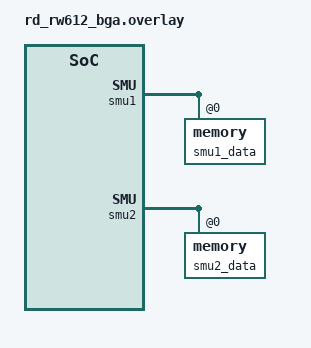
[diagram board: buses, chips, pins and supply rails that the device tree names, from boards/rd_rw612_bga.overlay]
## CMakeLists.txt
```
# SPDX-License-Identifier: Apache-2.0

cmake_minimum_required(VERSION 3.28.0)
find_package(Zephyr REQUIRED HINTS $ENV{ZEPHYR_BASE})
project(thread_stack)

FILE(GLOB app_sources src/*.c)
target_sources(app PRIVATE ${app_sources})

target_include_directories(app PRIVATE
  ${ZEPHYR_BASE}/kernel/include
  ${ZEPHYR_BASE}/arch/${ARCH}/include
  )
```

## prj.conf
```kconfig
CONFIG_ZTEST=y
CONFIG_INIT_STACKS=y
CONFIG_THREAD_STACK_INFO=y
CONFIG_APPLICATION_DEFINED_SYSCALL=y
CONFIG_TEST_USERSPACE=y
CONFIG_HEAP_MEM_POOL_SIZE=192
```

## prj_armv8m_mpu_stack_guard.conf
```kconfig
CONFIG_ZTEST=y
CONFIG_INIT_STACKS=y
CONFIG_THREAD_STACK_INFO=y
CONFIG_APPLICATION_DEFINED_SYSCALL=y
CONFIG_TEST_USERSPACE=y
CONFIG_BUILTIN_STACK_GUARD=n
CONFIG_MPU_STACK_GUARD=y
CONFIG_HEAP_MEM_POOL_SIZE=192
```

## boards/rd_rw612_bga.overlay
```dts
/*
 * Copyright 2023 NXP
 *
 * SPDX-License-Identifier: Apache-2.0
 */

&smu1 {
	smu1_data: memory@0 {
		/delete-property/ zephyr,memory-attr;
	};
};

&smu2 {
	smu2_data: memory@0 {
		/delete-property/ zephyr,memory-attr;
	};
};
```

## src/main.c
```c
/*
 * Copyright (c) 2020 Intel Corporation
 *
 * SPDX-License-Identifier: Apache-2.0
 */

#include <zephyr/kernel.h>
#include <zephyr/ztest.h>
#include <zephyr/internal/syscall_handler.h>
#include <kernel_internal.h>

#include "test_syscall.h"

/*
 * Stack testing
 */
struct k_thread test_thread;
#define NUM_STACKS	3
#define STEST_STACKSIZE	(512 + CONFIG_TEST_EXTRA_STACK_SIZE)
K_THREAD_STACK_DEFINE(user_stack, STEST_STACKSIZE);
K_THREAD_STACK_ARRAY_DEFINE(user_stack_array, NUM_STACKS, STEST_STACKSIZE);
K_KERNEL_STACK_DEFINE(kern_stack, STEST_STACKSIZE);
K_KERNEL_STACK_ARRAY_DEFINE(kern_stack_array, NUM_STACKS, STEST_STACKSIZE);

struct foo {
	int bar;

	K_KERNEL_STACK_MEMBER(stack, STEST_STACKSIZE);
	int baz;
};

__kstackmem struct foo stest_member_stack;

void z_impl_stack_info_get(char **start_addr, size_t *size)
{
	*start_addr = (char *)k_current_get()->stack_info.start;
	*size = k_current_get()->stack_info.size;
}

#ifdef CONFIG_USERSPACE
static inline void z_vrfy_stack_info_get(char **start_addr,
					 size_t *size)
{
	K_OOPS(K_SYSCALL_MEMORY_WRITE(start_addr, sizeof(uintptr_t)));
	K_OOPS(K_SYSCALL_MEMORY_WRITE(size, sizeof(size_t)));

	z_impl_stack_info_get(start_addr, size);
}
#include <zephyr/syscalls/stack_info_get_mrsh.c>

int z_impl_check_perms(void *addr, size_t size, int write)
{
	return arch_buffer_validate(addr, size, write);
}

static inline int z_vrfy_check_perms(void *addr, size_t size, int write)
{
	return z_impl_check_perms((void *)addr, size, write);
}
#include <zephyr/syscalls/check_perms_mrsh.c>
#endif /* CONFIG_USERSPACE */

/* Global data structure with object information, used by
 * stack_buffer_scenarios
 */
ZTEST_BMEM struct scenario_data {
	k_thread_stack_t *stack;

#ifdef CONFIG_THREAD_STACK_MEM_MAPPED
	k_thread_stack_t *stack_mapped;
#endif

	/* If this was declared with K_THREAD_STACK_DEFINE and not
	 * K_KERNEL_STACK_DEFINE
	 */
	bool is_user;

	/* Stack size stored in kernel object metadata if a user stack */
	size_t metadata_size;

	/* Return value of sizeof(stack) */
	size_t object_size;

	/* Return value of K_{THREAD|KERNEL}_STACK_SIZEOF(stack) */
	size_t reported_size;

	/* Original size argument passed to K_{THREAD|KERNEL}_STACK_DECLARE */
	size_t declared_size;

	/* Whether this stack is part of an array of thread stacks */
	bool is_array;
} scenario_data;

void stack_buffer_scenarios(void)
{
	k_thread_stack_t *stack_obj;
	size_t obj_size = scenario_data.object_size;
	size_t stack_size, unused, carveout, reserved, alignment, adjusted;
	uint8_t val = 0;
	char *stack_start, *stack_ptr, *stack_end, *obj_start, *obj_end;
	char *stack_buf;
	volatile char *pos;
	int ret, expected;
	uintptr_t base;
	bool is_usermode;
	long int end_space;

#ifdef CONFIG_THREAD_STACK_MEM_MAPPED
	stack_obj = scenario_data.stack_mapped;
#else
	stack_obj = scenario_data.stack;
#endif

	base = (uintptr_t)stack_obj;

#ifdef CONFIG_USERSPACE
	is_usermode = arch_is_user_context();
#else
	is_usermode = false;
#endif
	/* Dump interesting information */
	stack_info_get(&stack_start, &stack_size);
	printk("   - Thread reports buffer %p size %zu\n", stack_start,
	       stack_size);

#ifdef CONFIG_USERSPACE
	if (scenario_data.is_user) {
		reserved = K_THREAD_STACK_RESERVED;
		stack_buf = K_THREAD_STACK_BUFFER(stack_obj);
		/* always use the original size here */
		alignment = Z_THREAD_STACK_OBJ_ALIGN(STEST_STACKSIZE);
	} else
#endif
	{
		reserved = K_KERNEL_STACK_RESERVED;
		stack_buf = K_KERNEL_STACK_BUFFER(stack_obj);
		alignment = Z_KERNEL_STACK_OBJ_ALIGN;
	}

	stack_end = stack_start + stack_size;
	obj_end = (char *)stack_obj + obj_size;
	obj_start = (char *)stack_obj;



	/* Assert that the created stack object, with the reserved data
	 * removed, can hold a thread buffer of STEST_STACKSIZE
	 */
	zassert_true(STEST_STACKSIZE <= (obj_size - reserved),
		      "bad stack size in object");

	/* Check that the stack info in the thread marks a region
	 * completely contained within the stack object
	 */
	zassert_true(stack_end <= obj_end,
		     "stack size in thread struct out of bounds (overflow)");
	zassert_true(stack_start >= obj_start,
		     "stack size in thread struct out of bounds (underflow)");

	/* Check that the base of the stack is aligned properly. */
	zassert_true(base % alignment == 0,
		     "stack base address %p not aligned to %zu",
		     stack_obj, alignment);

	/* Check that the entire stack buffer is read/writable */
	printk("   - check read/write to stack buffer\n");

	/* Address of this stack variable is guaranteed to part of
	 * the active stack, and close to the actual stack pointer.
	 * Some CPUs have hardware stack overflow detection which
	 * faults on memory access within the stack buffer but below
	 * the stack pointer.
	 *
	 * First test does direct read & write starting at the estimated
	 * stack pointer up to the highest addresses in the buffer
	 * Starting from &val which is close enough to stack pointer
	 */
	stack_ptr = (char *)&val;
	for (pos = stack_ptr; pos < stack_end; pos++) {
		/* pos is volatile so this doesn't get optimized out */
		val = *pos;
		*pos = val;
	}

#ifdef CONFIG_USERSPACE
	if (is_usermode) {
		/* If we're in user mode, check every byte in the stack buffer
		 * to ensure that the thread has permissions on it.
		 */
		for (pos = stack_start; pos < stack_end; pos++) {
			zassert_false(check_perms((void *)pos, 1, 1),
				      "bad MPU/MMU permission on stack buffer at address %p",
				      pos);
		}

		/* Bounds check the user accessible area, it shouldn't extend
		 * before or after the stack. Because of memory protection HW
		 * alignment constraints, we test the end of the stack object
		 * and not the buffer.
		 */
		zassert_true(check_perms(stack_start - 1, 1, 0),
			     "user mode access to memory %p before start of stack object",
			     obj_start - 1);
		zassert_true(check_perms(stack_end, 1, 0),
			     "user mode access to memory %p past end of stack object",
			     obj_end);

		/*
		 * The reserved area, when it exists, is dropped at run time
		 * when transitioning to user mode on RISC-V. Reinstate that
		 * reserved area here for the next tests to work properly
		 * with a static non-zero K_THREAD_STACK_RESERVED definition.
		 */
		if (IS_ENABLED(CONFIG_RISCV) &&
		    IS_ENABLED(CONFIG_GEN_PRIV_STACKS) &&
		    K_THREAD_STACK_RESERVED != 0) {
			stack_start += reserved;
			stack_size -= reserved;
		}

		zassert_true(stack_size <= obj_size - reserved,
			      "bad stack size %zu in thread struct",
			      stack_size);
	}
#endif

	carveout = stack_start - stack_buf;
	printk("   - Carved-out space in buffer: %zu\n", carveout);

	zassert_true(carveout < stack_size,
		     "Suspicious carve-out space reported");
	/* 0 unless this is a stack array */
	end_space = obj_end - stack_end;
	printk("   - Unused objects space: %ld\n", end_space);

	/* For all stacks, when k_thread_create() is called with a stack object,
	 * it is equivalent to pass either the original requested stack size, or
	 * the return value of K_*_STACK_SIZEOF() for that stack object.
	 *
	 * When the stack is actually instantiated, both expand to fill any space
	 * rounded up, except rounding space for array members.
	 */
	if (!scenario_data.is_array) {
		/* These should be exactly the same. We have an equivalence relation:
		 * For some stack declared with:
		 *
		 * K_THREAD_STACK_DEFINE(my_stack, X);
		 * K_THREAD_STACK_LEN(X) - K_THREAD_STACK_RESERVED ==
		 * 	K_THREAD_STACK_SIZEOF(my_stack)
		 *
		 * K_KERNEL_STACK_DEFINE(my_kern_stack, Y):
		 * K_KERNEL_STACK_LEN(Y) - K_KERNEL_STACK_RESERVED ==
		 *	K_KERNEL_STACK_SIZEOF(my_stack)
		 */
#ifdef CONFIG_USERSPACE
		/* Not defined if user mode disabled, all stacks are kernel stacks */
		if (scenario_data.is_user) {
			adjusted = K_THREAD_STACK_LEN(scenario_data.declared_size);
		} else
#endif
		{
			adjusted = K_KERNEL_STACK_LEN(scenario_data.declared_size);
		}
		adjusted -= reserved;

		zassert_equal(end_space, 0, "unexpected unused space\n");
	} else {
		/* For arrays there may be unused space per-object. This is because
		 * every single array member must be aligned to the value returned
		 * by Z_{KERNEL|THREAD}_STACK_OBJ_ALIGN.
		 *
		 * If we define:
		 *
		 * K_{THREAD|KERNEL}_STACK_ARRAY_DEFINE(my_stack_array, num_stacks, X);
		 *
		 * We do not auto-expand usable space to cover this unused area. Doing
		 * this would require some way for the kernel to know that a stack object
		 * pointer passed in is an array member, which is currently not possible.
		 *
		 * The equivalence here is computable with:
		 * K_THREAD_STACK_SIZEOF(my_stack_array[0]) ==
		 * 	K_THREAD_STACK_LEN(X) - K_THREAD_STACK_RESERVED;
		 */

		if (scenario_data.is_user) {
			adjusted = K_THREAD_STACK_LEN(scenario_data.declared_size);
		} else {
			adjusted = K_KERNEL_STACK_LEN(scenario_data.declared_size);
		}
		adjusted -= reserved;

		/* At least make sure it's not negative, that means stack_info isn't set
		 * right
		 */
		zassert_true(end_space >= 0, "bad stack bounds in stack_info");
	}

	zassert_true(adjusted == scenario_data.reported_size,
		     "size mismatch: adjusted %zu vs. reported %zu",
		     adjusted, scenario_data.reported_size);

	ret = k_thread_stack_space_get(k_current_get(), &unused);
	if (!is_usermode && IS_ENABLED(CONFIG_NO_UNUSED_STACK_INSPECTION)) {
		expected = -ENOTSUP;
	} else {
		expected = 0;
	}

	zassert_equal(ret, expected, "unexpected return value %d", ret);
	if (ret == 0) {
		printk("self-reported unused stack space: %zu\n", unused);
	}
}

void stest_thread_entry(void *p1, void *p2, void *p3)
{
	bool drop = (bool)p1;

	if (drop) {
		k_thread_user_mode_enter(stest_thread_entry, (void *)false,
					 p2, p3);
	} else {
		stack_buffer_scenarios();
	}
}

void stest_thread_launch(uint32_t flags, bool drop)
{
	int ret;
	size_t unused;

	k_thread_create(&test_thread, scenario_data.stack, STEST_STACKSIZE,
			stest_thread_entry,
			(void *)drop, NULL, NULL,
			-1, flags, K_FOREVER);

#ifdef CONFIG_THREAD_STACK_MEM_MAPPED
	scenario_data.stack_mapped = test_thread.stack_info.mapped.addr;

	printk("   - Memory mapped stack object %p\n", scenario_data.stack_mapped);
#endif /* CONFIG_THREAD_STACK_MEM_MAPPED */

	k_thread_start(&test_thread);
	k_thread_join(&test_thread, K_FOREVER);

	ret = k_thread_stack_space_get(&test_thread, &unused);

#ifdef CONFIG_THREAD_STACK_MEM_MAPPED
	if (ret == -EINVAL) {
		printk("! cannot report unused stack space due to stack no longer mapped.\n");
	} else
#endif /* CONFIG_THREAD_STACK_MEM_MAPPED */
	{
		zassert_equal(ret, 0, "failed to calculate unused stack space\n");
		printk("target thread unused stack space: %zu\n", unused);
	}
}

void scenario_entry(void *stack_obj, size_t obj_size, size_t reported_size,
		    size_t declared_size, bool is_array)
{
	bool is_user;
	size_t metadata_size;

#ifdef CONFIG_USERSPACE
	struct k_object *zo;

	zo = k_object_find(stack_obj);
	if (zo != NULL) {
		is_user = true;
#ifdef CONFIG_GEN_PRIV_STACKS
		metadata_size = zo->data.stack_data->size;
#else
		metadata_size = zo->data.stack_size;
#endif /* CONFIG_GEN_PRIV_STACKS */
		printk("stack may host user thread, size in metadata is %zu\n",
		       metadata_size);
	} else
#endif /* CONFIG_USERSPACE */
	{
		metadata_size = 0;
		is_user = false;
	}

	scenario_data.stack = stack_obj;
	scenario_data.object_size = obj_size;
	scenario_data.is_user = is_user;
	scenario_data.metadata_size = metadata_size;
	scenario_data.reported_size = reported_size;
	scenario_data.declared_size = declared_size;
	scenario_data.is_array = is_array;

	printk("Stack object %p[%zu]\n", stack_obj, obj_size);
	printk(" - Testing supervisor mode\n");
	stest_thread_launch(0, false);

#ifdef CONFIG_USERSPACE
	if (is_user) {
		printk(" - Testing user mode (direct launch)\n");
		stest_thread_launch(K_USER | K_INHERIT_PERMS, false);
		printk(" - Testing user mode (drop)\n");
		stest_thread_launch(K_INHERIT_PERMS, true);
	}
#endif /* CONFIG_USERSPACE */
}

/**
 * @brief Verify that every kind of declared stack is sized, aligned and
 *        writable as its macros promise.
 *
 * @ingroup kernel_memprotect_tests
 *
 * @details
 * A thread must be able to read and write the whole stack buffer it was given,
 * and the size and alignment reported by the K_THREAD_STACK and K_KERNEL_STACK
 * macros have to agree with what the object actually occupies. Getting this
 * wrong is what turns a stack into an overlapping or under-sized region, so
 * each form a stack can be declared in is checked in turn: a single stack, an
 * element of a stack array, and a stack embedded in a struct, for both thread
 * and kernel stacks.
 *
 * Test steps:
 * - Report the reserved space and interrupt stack sizes for the record.
 * - For each declared stack, spawn a thread on it and have that thread check
 *   its reported bounds, alignment and reserved space, then write over the
 *   full usable extent of its own stack.
 * - Repeat for user stacks, user stack arrays, kernel stacks, kernel stack
 *   arrays and a struct-embedded stack.
 *
 * Expected result:
 * - Every stack reports the size and alignment its declaration implies, and a
 *   thread can write the whole buffer without faulting.
 *
 * @see K_THREAD_STACK_DEFINE()
 * @see K_KERNEL_STACK_DEFINE()
 * @see K_THREAD_STACK_SIZEOF()
 * @see k_thread_stack_space_get()
 * @verifies ZEP-SRS-1-8
 * @verifies ZEP-SRS-1-35
 */
ZTEST(userspace_thread_stack, test_thread_stack_buffer_access)
{
	printk("Reserved space (thread stacks): %zu\n",
	       K_THREAD_STACK_RESERVED);
	printk("Reserved space (kernel stacks): %zu\n",
	       K_KERNEL_STACK_RESERVED);

	printk("CONFIG_ISR_STACK_SIZE %zu\n", (size_t)CONFIG_ISR_STACK_SIZE);

	unsigned int num_cpus = arch_num_cpus();

	for (int i = 0; i < num_cpus; i++) {
		printk("irq stack %d: %p size %zu\n",
		       i, &z_interrupt_stacks[i],
		       sizeof(z_interrupt_stacks[i]));
	}

	printk("Provided stack size: %u\n", STEST_STACKSIZE);

	printk("\ntesting user_stack\n");
	scenario_entry(user_stack, sizeof(user_stack), K_THREAD_STACK_SIZEOF(user_stack),
		       STEST_STACKSIZE, false);

	for (int i = 0; i < NUM_STACKS; i++) {
		printk("\ntesting user_stack_array[%d]\n", i);
		scenario_entry(user_stack_array[i],
			       sizeof(user_stack_array[i]),
			       K_THREAD_STACK_SIZEOF(user_stack_array[i]),
			       STEST_STACKSIZE, true);
	}

	printk("\ntesting kern_stack\n");
	scenario_entry(kern_stack, sizeof(kern_stack), K_KERNEL_STACK_SIZEOF(kern_stack),
		       STEST_STACKSIZE, false);

	for (int i = 0; i < NUM_STACKS; i++) {
		printk("\ntesting kern_stack_array[%d]\n", i);
		scenario_entry(kern_stack_array[i],
			       sizeof(kern_stack_array[i]),
			       K_KERNEL_STACK_SIZEOF(kern_stack_array[i]),
			       STEST_STACKSIZE, true);
	}

	printk("\ntesting stest_member_stack\n");
	scenario_entry(&stest_member_stack.stack,
		       sizeof(stest_member_stack.stack),
		       K_KERNEL_STACK_SIZEOF(stest_member_stack.stack),
		       STEST_STACKSIZE, false);
}

void no_op_entry(void *p1, void *p2, void *p3)
{

	printk("hi! bye!\n");

#ifdef CONFIG_DYNAMIC_OBJECTS
	/* Allocate a dynamic kernel object, which gets freed on thread
	 * cleanup since this thread has the only reference.
	 */
	struct k_sem *dyn_sem = k_object_alloc(K_OBJ_SEM);
	k_sem_init(dyn_sem, 1, 1);
	printk("allocated semaphore %p\n", dyn_sem);
#endif
	/* thread self-aborts, triggering idle thread cleanup */
}

/**
 * @brief Verify that cleaning up an exited thread does not overflow the idle
 *        thread stack.
 *
 * @ingroup kernel_memprotect_tests
 *
 * @details
 * The idle thread is where a self-exiting thread's resources are reclaimed,
 * including any dynamic kernel objects whose last reference it held. That
 * cleanup runs on the idle thread's own stack, which is sized by
 * CONFIG_IDLE_STACK_SIZE, so it has to fit. The test drives that path and then
 * reads back how much of the idle stack was left, which also reports the
 * headroom for the record. Skipped on coherence platforms, where the idle
 * stack may have been initialized on another CPU and cannot be inspected from
 * this one.
 *
 * Test steps:
 * - Spawn a thread that allocates a dynamic kernel object and self-exits, so
 *   the idle thread has to clean up after it.
 * - Join the thread and sleep briefly so the idle thread runs.
 * - Query the unused space of the idle thread's stack.
 *
 * Expected result:
 * - The query succeeds and the idle thread stack still has unused space, so
 *   the cleanup did not overflow it.
 *
 * @see k_thread_stack_space_get()
 */
ZTEST(userspace_thread_stack, test_thread_stack_idle_no_overflow)
{
	if (IS_ENABLED(CONFIG_KERNEL_COHERENCE)) {
		/* Stacks on coherence platforms aren't coherent, and
		 * the idle stack may have been initialized on a
		 * different CPU!
		 */
		ztest_test_skip();
	}

	int ret;
#ifdef CONFIG_SMP
	/* 1cpu test case, so all other CPUs are spinning with co-op
	 * threads blocking them. _current_cpu triggers an assertion.
	 */
	struct k_thread *idle = arch_curr_cpu()->idle_thread;
#else
	struct k_thread *idle = _current_cpu->idle_thread;
#endif
	size_t unused_bytes;

	/* Spwawn a child thread which self-exits */
	k_thread_create(&test_thread, kern_stack, STEST_STACKSIZE,
			no_op_entry,
			NULL, NULL, NULL,
			-1, 0, K_NO_WAIT);

	k_thread_join(&test_thread, K_FOREVER);

	/* Also sleep for a bit, which also exercises the idle thread
	 * in case some PM hooks will run
	 */
	k_sleep(K_MSEC(1));

	/* Now measure idle thread stack usage */
	ret = k_thread_stack_space_get(idle, &unused_bytes);
	zassert_true(ret == 0, "failed to obtain stack space");
	zassert_true(unused_bytes > 0, "idle thread stack size %d too low",
		     CONFIG_IDLE_STACK_SIZE);
	printk("unused idle thread stack size: %zu/%d (%zu used)\n",
	       unused_bytes, CONFIG_IDLE_STACK_SIZE,
	       CONFIG_IDLE_STACK_SIZE - unused_bytes);

}

void *thread_setup(void)
{
	k_thread_system_pool_assign(k_current_get());

	return NULL;
}

ZTEST_SUITE(userspace_thread_stack, NULL, thread_setup,
		ztest_simple_1cpu_before, ztest_simple_1cpu_after, NULL);
```

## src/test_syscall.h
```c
/*
 * Copyright (c) 2020 Intel Corporation
 *
 * SPDX-License-Identifier: Apache-2.0
 */

#ifndef USERSPACE_TEST_SYSCALL_H
#define USERSPACE_TEST_SYSCALL_H

__syscall void stack_info_get(char **start_addr, size_t *size);
#ifdef CONFIG_USERSPACE
__syscall int check_perms(void *addr, size_t size, int write);
#endif
#include <zephyr/syscalls/test_syscall.h>

#endif
```
